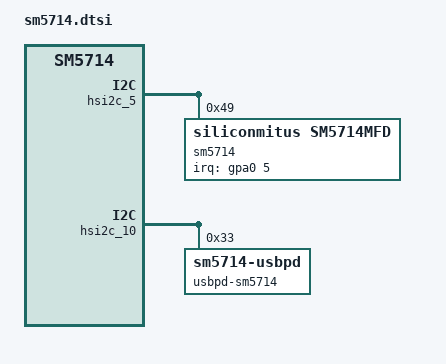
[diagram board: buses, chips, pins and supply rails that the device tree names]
/*
&pinctrl_0 {
	if_pmic_irq: if_pmic_irq {
		samsung,pins = "gpa0-5";
		samsung,pin-function = <0x0F>;
		samsung,pin-pud = <0>;
		samsung,pin-drv = <0>;
		samsung,pin-con-pdn = <3>;
		samsung,pin-pud-pdn = <0>;
//		GPIO_CONFIG_PUD_DRV(AP,gpa0,gpa0,5, FUNC_INPUT, PULL_NONE, DRV_LV1);
	};
};

&pinctrl_0 {
	usbpd_irq: usbpd_irq {
		samsung,pins = "gpp0-6";
		samsung,pin-function = <0x0F>;
		samsung,pin-pud = <0>;
		samsung,pin-drv = <0>;
		samsung,pin-con-pdn = <3>;
		samsung,pin-pud-pdn = <0>;
//		GPIO_CONFIG_PUD_DRV(AP,gpa0,gpa0,6, FUNC_INPUT_WAKEUP, PULL_NONE, DRV_LV4);
	};
};
*/
&hsi2c_5 {
	#address-cells = <1>;
	#size-cells = <0>;
	status = "okay";
	samsung,i2c-max-bus-freq = <400000>;
	sm5714@49{
		status = "okay";
		compatible = "siliconmitus,sm5714mfd";
		reg = <0x49>;
		pinctrl-names = "default";
		pinctrl-0 = <&if_pmic_irq>;
		sm5714,irq-gpio = <&gpa0 5 0>;
		sm5714,wakeup;
	};
};

&hsi2c_10 {
	i2c-gpio,delay-us = <5>;
	#address-cells = <1>;
	#size-cells = <0>;
	status = "okay";
	samsung,i2c-max-bus-freq = <400000>;

	usbpd-sm5714@33 {
		status = "okay";
		compatible = "sm5714-usbpd";
		reg = <0x33>;
		pinctrl-names = "default";
		pinctrl-0 = <&usbpd_irq>;
		usbpd,usbpd_int = <&gpa0 6 0>;
		support_pd_role_swap;
		pdic-manager {
			/* sink */
			pdic,max_power = <5000>;
			pdic_op_power = <2500>;
			pdic_max_voltage = <6000>;
			pdic_max_current = <2000>;
			pdic,min_current = <500>;

			pdic,giveback = <0>;
			pdic,usb_com_capable = <1>;
			pdic,no_usb_suspend = <1>;

			/* source */
			source,max_voltage = <5000>;
			source,min_voltage = <4000>;
			source,max_power = <2500>;
		};
	};
};
